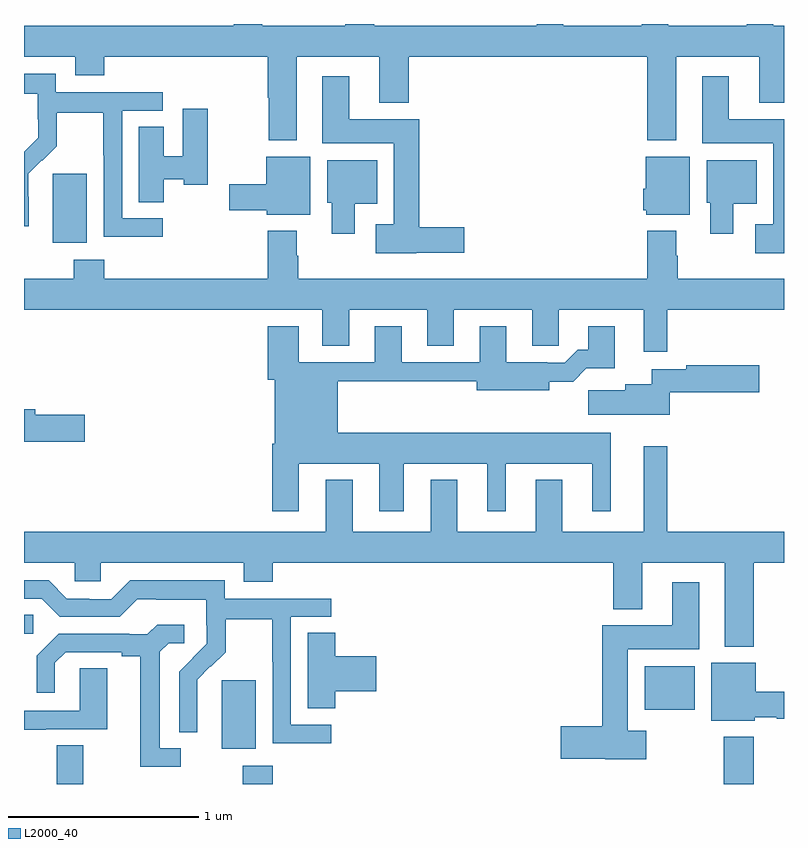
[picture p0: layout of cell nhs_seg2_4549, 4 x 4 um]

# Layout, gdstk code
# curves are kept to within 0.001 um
import gdstk
lib = gdstk.Library(unit=1e-6, precision=1e-09)
def R(c, l, rs):  # rectangles x0, y0, x1, y1
    for r in rs: c.add(gdstk.rectangle(r[:2], r[2:], *l))
def P(c, l, *ps):  # polygons
    for p in ps: c.add(gdstk.Polygon(p, *l))
L2000_40 = (2000, 40)

nhs_seg2_4549 = lib.new_cell('nhs_seg2_4549')
R(nhs_seg2_4549, L2000_40, [(357.173,651.8,357.313,652.004), (358.15,651.8,358.31,651.895), (360.682,651.8,360.842,652.048), (358.04,651.986,358.219,652.347), (360.266,652.19,360.529,652.42), (357,652.59,357.049,652.691), (357.152,654.65,357.331,655.011)])
P(nhs_seg2_4549, L2000_40, [(358.435,655.628),(358.871,655.628),(358.871,655.385),(359.024,655.385),(359.024,655.628),(360.281,655.628),(360.281,655.187),(360.433,655.187),(360.433,655.628),(360.869,655.628),(360.869,655.385),(361,655.385),(361,655.792),(360.943,655.792),(360.943,655.8),(360.803,655.8),(360.803,655.792),(360.391,655.792),(360.391,655.8),(360.251,655.8),(360.251,655.792),(359.839,655.792),(359.839,655.8),(359.699,655.8),(359.699,655.792),(358.844,655.792),(358.844,655.8),(358.691,655.8),(358.691,655.792),(358.255,655.792),(358.255,655.8),(358.103,655.8),(358.103,655.792),(357,655.792),(357,655.628),(357.269,655.628),(357.269,655.529),(357.422,655.529),(357.422,655.628),(358.283,655.628),(358.283,655.413),(358.288,655.413),(358.288,655.187),(358.435,655.187)],
  [(357.73,654.777),(357.516,654.777),(357.516,655.344),(357.73,655.344),(357.73,655.44),(357.168,655.44),(357.168,655.537),(357,655.537),(357,655.433),(357.072,655.433),(357.072,655.299),(357.074,655.299),(357.074,655.202),(357,655.128),(357,654.736),(357.024,654.736),(357.023,655.013),(357.093,655.083),(357.096,655.08),(357.173,655.157),(357.173,655.332),(357.418,655.332),(357.418,655.108),(357.42,655.108),(357.42,654.679),(357.73,654.679)],
  [(361,655.3),(360.709,655.3),(360.709,655.525),(360.569,655.525),(360.569,655.172),(360.944,655.172),(360.944,654.745),(360.849,654.745),(360.849,654.593),(361,654.593)],
  [(359.064,654.596),(359.317,654.596),(359.317,654.731),(359.081,654.731),(359.081,655.3),(358.711,655.3),(358.711,655.525),(358.571,655.525),(358.571,655.172),(358.946,655.172),(358.946,654.745),(358.851,654.745),(358.851,654.593),(359.064,654.593)],
  [(357.736,654.983),(357.84,654.983),(357.84,654.953),(357.966,654.953),(357.966,655.354),(357.836,655.354),(357.836,655.105),(357.736,655.105),(357.736,655.259),(357.605,655.259),(357.605,654.862),(357.736,654.862)],
  [(360.505,655.102),(360.272,655.102),(360.272,654.933),(360.26,654.933),(360.26,654.819),(360.276,654.819),(360.276,654.797),(360.505,654.797)],
  [(358.507,655.102),(358.274,655.102),(358.274,654.956),(358.08,654.956),(358.08,654.821),(358.278,654.821),(358.278,654.797),(358.507,654.797)],
  [(360.733,654.854),(360.856,654.854),(360.856,655.084),(360.593,655.084),(360.593,654.858),(360.611,654.858),(360.611,654.696),(360.733,654.696)],
  [(358.741,654.854),(358.858,654.854),(358.858,655.084),(358.595,655.084),(358.595,654.858),(358.619,654.858),(358.619,654.696),(358.741,654.696)],
  [(360.385,654.296),(361,654.296),(361,654.46),(360.441,654.46),(360.441,654.581),(360.433,654.581),(360.433,654.712),(360.281,654.712),(360.281,654.46),(358.443,654.46),(358.443,654.581),(358.435,654.581),(358.435,654.712),(358.283,654.712),(358.283,654.46),(357.422,654.46),(357.422,654.559),(357.262,654.559),(357.262,654.46),(357,654.46),(357,654.296),(358.571,654.296),(358.571,654.106),(358.711,654.106),(358.711,654.296),(359.123,654.296),(359.123,654.106),(359.263,654.106),(359.263,654.296),(359.675,654.296),(359.675,654.106),(359.814,654.106),(359.814,654.296),(360.263,654.296),(360.263,654.075),(360.385,654.075)],
  [(358.447,653.486),(358.871,653.486),(358.871,653.235),(358.999,653.235),(358.999,653.486),(359.438,653.486),(359.438,653.235),(359.536,653.235),(359.536,653.486),(359.99,653.486),(359.99,653.235),(360.088,653.235),(360.088,653.65),(358.651,653.65),(358.651,653.92),(359.384,653.92),(359.384,653.873),(359.764,653.873),(359.764,653.918),(359.891,653.918),(359.96,653.987),(360.109,653.987),(360.109,654.208),(359.969,654.208),(359.969,654.085),(359.914,654.085),(359.847,654.018),(359.753,654.018),(359.753,654.021),(359.539,654.021),(359.539,654.208),(359.399,654.208),(359.399,654.021),(358.987,654.021),(358.987,654.208),(358.847,654.208),(358.847,654.021),(358.447,654.021),(358.447,654.208),(358.283,654.208),(358.283,653.928),(358.319,653.928),(358.319,653.59),(358.307,653.59),(358.307,653.235),(358.447,653.235)],
  [(360.399,653.861),(360.871,653.861),(360.871,654.003),(360.486,654.003),(360.486,653.983),(360.303,653.983),(360.303,653.905),(360.164,653.905),(360.164,653.873),(359.97,653.873),(359.97,653.744),(360.399,653.744)],
  [(357.319,653.744),(357.058,653.744),(357.058,653.773),(357,653.773),(357,653.602),(357.319,653.602)],
  [(360.842,652.964),(361,652.964),(361,653.128),(360.385,653.128),(360.385,653.578),(360.263,653.578),(360.263,653.128),(359.833,653.128),(359.833,653.401),(359.693,653.401),(359.693,653.128),(359.281,653.128),(359.281,653.401),(359.141,653.401),(359.141,653.128),(358.729,653.128),(358.729,653.401),(358.589,653.401),(358.589,653.128),(357,653.128),(357,652.964),(357.267,652.964),(357.267,652.866),(357.405,652.866),(357.405,652.964),(358.157,652.964),(358.157,652.865),(358.31,652.865),(358.31,652.964),(360.101,652.964),(360.101,652.721),(360.253,652.721),(360.253,652.964),(360.689,652.964),(360.689,652.523),(360.842,652.523)],
  [(358.618,652.113),(358.404,652.113),(358.404,652.68),(358.618,652.68),(358.618,652.776),(358.056,652.776),(358.056,652.873),(357.559,652.873),(357.459,652.773),(357.344,652.773),(357.344,652.776),(357.225,652.776),(357.129,652.872),(357,652.872),(357,652.776),(357.093,652.776),(357.189,652.68),(357.504,652.68),(357.597,652.773),(357.697,652.773),(357.697,652.769),(357.96,652.769),(357.96,652.635),(357.962,652.635),(357.962,652.538),(357.816,652.39),(357.816,652.072),(357.912,652.072),(357.911,652.349),(357.981,652.419),(357.984,652.416),(358.061,652.493),(358.061,652.668),(358.306,652.668),(358.306,652.444),(358.308,652.444),(358.308,652.015),(358.618,652.015)],
  [(360.274,652.081),(360.178,652.081),(360.178,652.508),(360.553,652.508),(360.553,652.861),(360.413,652.861),(360.413,652.636),(360.044,652.636),(360.044,652.103),(359.826,652.103),(359.826,651.932),(360.06,651.932),(360.06,651.929),(360.274,651.929)],
  [(357.826,651.987),(357.715,651.987),(357.715,652.495),(357.762,652.542),(357.844,652.542),(357.844,652.639),(357.7,652.639),(357.648,652.587),(357.554,652.587),(357.554,652.59),(357.182,652.59),(357.066,652.474),(357.066,652.281),(357.163,652.281),(357.163,652.437),(357.22,652.494),(357.515,652.494),(357.515,652.472),(357.611,652.472),(357.611,651.891),(357.826,651.891)],
  [(358.637,652.289),(358.855,652.289),(358.855,652.472),(358.637,652.472),(358.637,652.595),(358.493,652.595),(358.493,652.198),(358.637,652.198)],
  [(360.846,652.151),(360.963,652.151),(360.963,652.144),(361,652.144),(361,652.286),(360.85,652.286),(360.85,652.438),(360.617,652.438),(360.617,652.133),(360.846,652.133)],
  [(357.115,652.089),(357.439,652.089),(357.439,652.409),(357.294,652.409),(357.294,652.185),(357,652.185),(357,652.085),(357.115,652.085)])

lib.write_gds('nhs_seg2_4549.gds')
